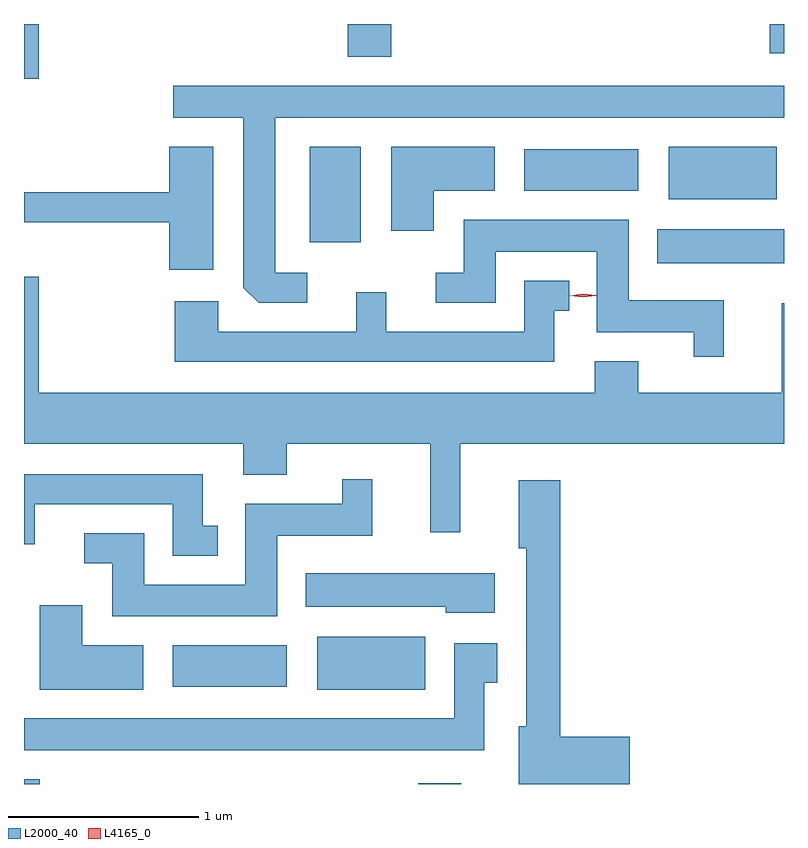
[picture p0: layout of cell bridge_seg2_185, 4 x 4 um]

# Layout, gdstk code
import gdstk
lib = gdstk.Library(unit=1e-6, precision=1e-09)
def R(c, l, rs):  # rectangles x0, y0, x1, y1
    for r in rs: c.add(gdstk.rectangle(r[:2], r[2:], *l))
def P(c, l, *ps):  # polygons
    for p in ps: c.add(gdstk.Polygon(p, *l))
L2000_40 = (2000, 40)
L4165_0 = (4165, 0)

bridge_seg2_185 = lib.new_cell('bridge_seg2_185')
R(bridge_seg2_185, L2000_40, [(674.807,1028.764,674.889,1028.789), (676.881,1028.764,677.109,1028.769), (676.351,1029.261,676.919,1029.539), (675.591,1029.276,676.189,1029.494), (678.141,1031.506,678.807,1031.684), (676.311,1031.616,676.579,1032.119), (678.201,1031.841,678.769,1032.119), (677.441,1031.886,678.039,1032.104), (674.807,1032.476,674.884,1032.764), (676.511,1032.591,676.739,1032.764), (678.731,1032.611,678.807,1032.764)])
P(bridge_seg2_185, L2000_40, [(676.298,1031.454),(676.129,1031.454),(676.129,1032.271),(678.807,1032.271),(678.807,1032.439),(675.593,1032.439),(675.593,1032.271),(675.961,1032.271),(675.961,1031.377),(676.042,1031.296),(676.298,1031.296)],
  [(676.964,1031.886),(677.284,1031.886),(677.284,1032.119),(676.741,1032.119),(676.741,1031.676),(676.964,1031.676)],
  [(675.804,1032.119),(675.571,1032.119),(675.571,1031.879),(674.807,1031.879),(674.807,1031.721),(675.571,1031.721),(675.571,1031.471),(675.804,1031.471)],
  [(678.489,1031.309),(677.989,1031.309),(677.989,1031.734),(677.121,1031.734),(677.121,1031.454),(676.973,1031.454),(676.973,1031.296),(677.289,1031.296),(677.289,1031.566),(677.821,1031.566),(677.821,1031.141),(678.331,1031.141),(678.331,1031.013),(678.489,1031.013)],
  [(677.104,1030.556),(678.807,1030.556),(678.807,1031.293),(678.796,1031.293),(678.796,1030.824),(678.039,1030.824),(678.039,1030.989),(677.811,1030.989),(677.811,1030.824),(674.884,1030.824),(674.884,1031.434),(674.807,1031.434),(674.807,1030.556),(675.961,1030.556),(675.961,1030.391),(676.189,1030.391),(676.189,1030.556),(676.946,1030.556),(676.946,1030.088),(677.104,1030.088)],
  [(677.599,1031.256),(677.678,1031.256),(677.678,1031.414),(677.441,1031.414),(677.441,1031.144),(676.714,1031.144),(676.714,1031.353),(676.556,1031.353),(676.556,1031.144),(675.829,1031.144),(675.829,1031.304),(675.601,1031.304),(675.601,1030.986),(677.599,1030.986)],
  [(675.828,1030.124),(675.749,1030.124),(675.749,1030.394),(674.807,1030.394),(674.807,1030.027),(674.864,1030.027),(674.864,1030.236),(675.591,1030.236),(675.591,1029.966),(675.828,1029.966)],
  [(676.139,1030.071),(676.639,1030.071),(676.639,1030.368),(676.481,1030.368),(676.481,1030.239),(675.971,1030.239),(675.971,1029.814),(675.439,1029.814),(675.439,1030.084),(675.123,1030.084),(675.123,1029.926),(675.271,1029.926),(675.271,1029.646),(676.139,1029.646)],
  [(677.994,1029.014),(677.629,1029.014),(677.629,1030.364),(677.411,1030.364),(677.411,1030.006),(677.451,1030.006),(677.451,1029.069),(677.411,1029.069),(677.411,1028.764),(677.994,1028.764)],
  [(677.284,1029.874),(676.291,1029.874),(676.291,1029.696),(677.026,1029.696),(677.026,1029.666),(677.284,1029.666)],
  [(675.434,1029.494),(675.114,1029.494),(675.114,1029.704),(674.891,1029.704),(674.891,1029.261),(675.434,1029.261)],
  [(677.229,1029.296),(677.299,1029.296),(677.299,1029.504),(677.071,1029.504),(677.071,1029.109),(674.807,1029.109),(674.807,1028.941),(677.229,1028.941)])
P(bridge_seg2_185, L4165_0, [(677.748,1031.325),(677.679,1031.334),(677.679,1031.335),(677.679,1031.335),(677.748,1031.345),(677.818,1031.336),(677.818,1031.336),(677.818,1031.335)])

lib.write_gds('bridge_seg2_185.gds')
